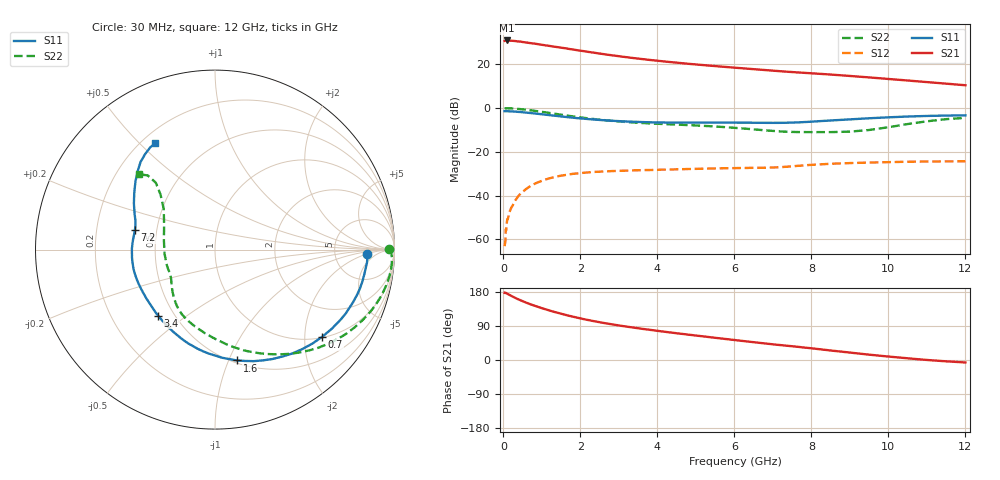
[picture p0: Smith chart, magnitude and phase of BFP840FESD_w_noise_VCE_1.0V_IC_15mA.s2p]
! Infineon Technologies  Discrete & RF Semiconductors
! BFP840FESD
! VCE =  1.0 V,  IC =  15 mA
! Common Emitter S-Parameters:  May 2012
# GHz  S  MA  R  50
!  f  S11  S21  S12  S22
! GHz  MAG  ANG  MAG  ANG  MAG  ANG  MAG  ANG
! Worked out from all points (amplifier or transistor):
!   103 points, 30 MHz to 12 GHz, reference 50 ohm
!   highest |S21| = 30.9 dB at 80 MHz (marker M1)
!   |S21| within 3 dB of that: start of sweep to 1.385 GHz
!   unconditionally stable (mu >= 1): 6.035 GHz to end of sweep
!   at 400 MHz: K = 0.11, MSG = 35.2 dB, |S12| = -39.9 dB
!   at 3.7 GHz: K = 0.66, MSG = 25.3 dB, |S12| = -28.3 dB
!   at 12 GHz: K = 1.16, MAG = 15.0 dB, |S12| = -24.3 dB
!   lowest NFmin = 0.78 dB at 450 MHz
!   S11 on the Smith chart (normalised r, x): 30 MHz: 12, -2; 700 MHz: 1.02, -2.44; 1.6 GHz: 0.52, -1.07; 3.4 GHz: 0.41, -0.39; 7.2 GHz: 0.37, +0.10; 12 GHz: 0.25, +0.56
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0.03  0.8469 -1.8  34.21 177.2  0.0007 90.1  0.9712 0.2
0.04  0.8473 -2.4  34.44 176.8  0.0008 93.1  0.9768 -0.3
0.05  0.8472 -3.1  34.72 177.5  0.0009 87.2  0.981 -1.0
0.08  0.8501 -4.9  35.02 175.9  0.0021 113.2  0.9878 -2.6
0.25  0.8359 -15.1  34.29 166.8  0.0062 81.1  0.9775 -10.9
0.35  0.8233 -20.8  33.53 161.7  0.0088 79.1  0.9626 -15.4
0.5  0.8018 -29.0  32.25 155.1  0.0122 73.8  0.9334 -21.6
0.7  0.7701 -39.1  30.45 147.1  0.0165 67.9  0.89 -29.2
0.9  0.7375 -48.7  28.78 140.1  0.0202 62.8  0.8433 -36.4
1.1  0.7043 -57.8  27.02 133.6  0.0235 58.1  0.7963 -43.2
1.3  0.6728 -66.5  25.45 127.5  0.0262 53.7  0.7499 -49.5
1.6  0.6298 -78.8  23.27 119.4  0.0295 48.1  0.685 -58.5
2.1  0.5704 -96.7  19.86 107.5  0.0333 40.6  0.5964 -71.9
2.7  0.5202 -114.1  16.59 96.1  0.0359 34.9  0.5211 -84.9
3.4  0.4856 -130.8  13.8 85.2  0.0378 30.9  0.4673 -97.4
4.1  0.4693 -144.8  11.8 75.7  0.0392 29.0  0.4339 -107.3
5  0.4664 -160.1  9.911 64.5  0.0408 27.7  0.4003 -118.2
6.1  0.4634 -176.3  8.248 51.6  0.0426 27.1  0.3482 -131.5
7.2  0.4597 166.1  6.935 39.3  0.0447 30.0  0.2926 -146.9
8.5  0.5203 150.3  5.828 25.1  0.0534 28.7  0.282 -175.1
10.5  0.641 130.3  4.26 4.5  0.0594 22.7  0.4313 134.7
12  0.6811 119.3  3.319 -6.5  0.0607 20.9  0.5973 135.3
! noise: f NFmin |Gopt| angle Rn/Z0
0.45  0.78  0.16  5  0.11
0.9  0.8  0.16  11  0.13
1.5  0.81  0.15  19  0.13
1.9  0.82  0.14  28  0.14
2.4  0.82  0.13  40  0.14
3.5  0.84  0.13  65  0.13
5.5  0.89  0.09  134  0.11
8  0.99  0.11  -167  0.12
10  1.1  0.26  -121  0.14
12  1.31  0.42  -106  0.17
